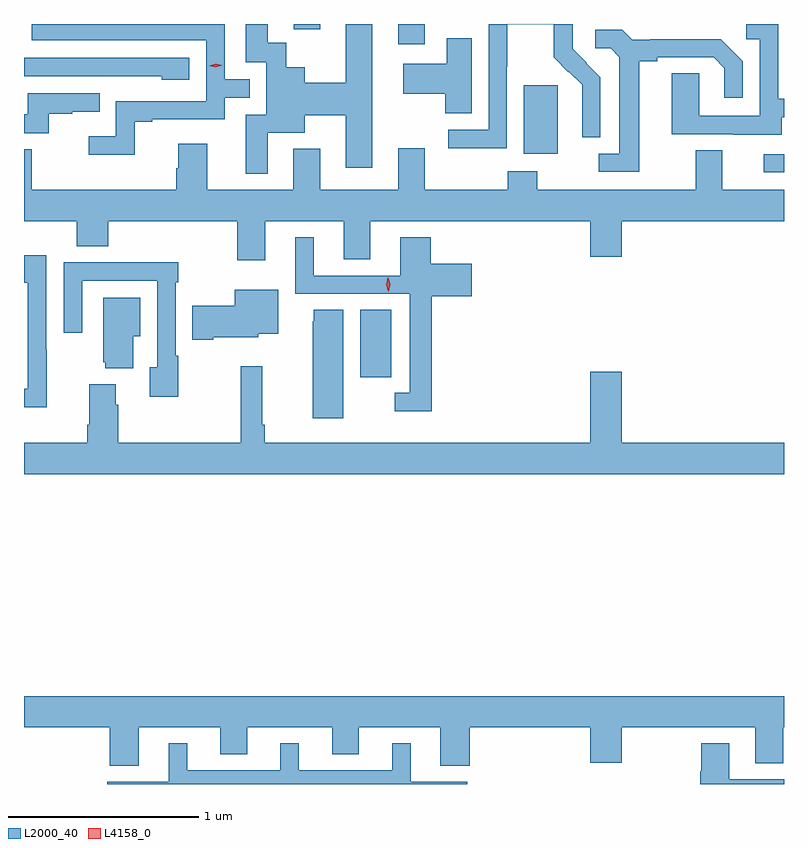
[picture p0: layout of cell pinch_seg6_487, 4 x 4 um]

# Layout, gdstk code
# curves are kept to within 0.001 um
import gdstk
lib = gdstk.Library(unit=1e-6, precision=1e-09)
def R(c, l, rs):  # rectangles x0, y0, x1, y1
    for r in rs: c.add(gdstk.rectangle(r[:2], r[2:], *l))
def P(c, l, *ps):  # polygons
    for p in ps: c.add(gdstk.Polygon(p, *l))
L2000_40 = (2000, 40)
L4158_0 = (4158, 0)

pinch_seg6_487 = lib.new_cell('pinch_seg6_487')
R(pinch_seg6_487, L2000_40, [(859.1,954.507,859.264,954.86), (861.225,955.584,861.331,955.68), (859.961,955.682,860.14,956.043), (859.301,956.259,859.441,956.365), (858.752,956.337,858.889,956.365)])
P(pinch_seg6_487, L2000_40, [(858.613,955.793),(858.808,955.793),(858.808,955.885),(859.025,955.885),(859.025,955.608),(859.165,955.608),(859.165,956.365),(859.025,956.365),(859.025,956.057),(858.808,956.057),(858.808,956.137),(858.711,956.137),(858.711,956.267),(858.613,956.267),(858.613,956.365),(858.497,956.365),(858.497,956.163),(858.606,956.163),(858.606,955.887),(858.497,955.887),(858.497,955.578),(858.613,955.578)],
  [(857.913,955.851),(858.007,955.851),(858.007,955.863),(858.387,955.863),(858.387,955.977),(858.52,955.977),(858.52,956.073),(858.387,956.073),(858.387,956.365),(857.373,956.365),(857.373,956.28),(858.291,956.28),(858.291,955.959),(857.814,955.959),(857.814,955.774),(857.673,955.774),(857.673,955.676),(857.913,955.676)],
  [(861.319,955.875),(861.331,955.875),(861.331,955.971),(861.3,955.971),(861.3,956.365),(861.132,956.365),(861.132,956.286),(861.204,956.286),(861.204,955.881),(860.886,955.881),(860.886,956.105),(860.741,956.105),(860.741,955.785),(861.065,955.785),(861.065,955.781),(861.319,955.781)],
  [(859.872,956.14),(859.875,956.14),(859.875,956.364),(860.119,956.364),(860.119,956.189),(860.196,956.112),(860.199,956.115),(860.27,956.045),(860.27,955.922),(860.268,955.922),(860.268,955.768),(860.364,955.768),(860.364,956.086),(860.218,956.234),(860.218,956.331),(860.22,956.331),(860.22,956.365),(859.776,956.365),(859.776,955.809),(859.563,955.809),(859.563,955.711),(859.872,955.711)],
  [(860.569,956.168),(860.665,956.168),(860.665,956.19),(860.96,956.19),(861.017,956.133),(861.017,955.977),(861.114,955.977),(861.114,956.17),(860.998,956.286),(860.626,956.286),(860.626,956.283),(860.532,956.283),(860.48,956.335),(860.337,956.335),(860.337,956.238),(860.418,956.238),(860.465,956.191),(860.465,955.683),(860.355,955.683),(860.355,955.587),(860.569,955.587)],
  [(859.687,956.291),(859.556,956.291),(859.556,956.155),(859.326,956.155),(859.326,955.997),(859.549,955.997),(859.549,955.894),(859.687,955.894)],
  [(858.202,956.187),(857.331,956.187),(857.331,956.091),(857.821,956.091),(857.821,956.09),(858.057,956.09),(858.057,956.072),(858.202,956.072)],
  [(857.462,955.893),(857.585,955.893),(857.585,955.904),(857.729,955.904),(857.729,956.001),(857.352,956.001),(857.352,955.889),(857.331,955.889),(857.331,955.791),(857.462,955.791)],
  [(858.601,955.328),(859.013,955.328),(859.013,955.126),(859.153,955.126),(859.153,955.328),(860.312,955.328),(860.312,955.14),(860.476,955.14),(860.476,955.328),(861.331,955.328),(861.331,955.492),(861.007,955.492),(861.007,955.7),(860.867,955.7),(860.867,955.492),(860.031,955.492),(860.031,955.591),(859.876,955.591),(859.876,955.492),(859.441,955.492),(859.441,955.711),(859.301,955.711),(859.301,955.492),(858.889,955.492),(858.889,955.708),(858.749,955.708),(858.749,955.492),(858.295,955.492),(858.295,955.735),(858.143,955.735),(858.143,955.605),(858.131,955.605),(858.131,955.492),(857.371,955.492),(857.371,955.706),(857.331,955.706),(857.331,955.328),(857.609,955.328),(857.609,955.195),(857.774,955.195),(857.774,955.328),(858.454,955.328),(858.454,955.122),(858.601,955.122)],
  [(859.478,954.932),(859.687,954.932),(859.687,955.102),(859.472,955.102),(859.472,955.243),(859.31,955.243),(859.31,955.041),(858.856,955.041),(858.856,955.243),(858.758,955.243),(858.758,954.945),(859.362,954.945),(859.362,954.423),(859.281,954.423),(859.281,954.326),(859.478,954.326)],
  [(857.451,954.653),(857.448,954.653),(857.448,955.147),(857.333,955.147),(857.333,955.002),(857.352,955.002),(857.352,954.698),(857.351,954.698),(857.351,954.444),(857.331,954.444),(857.331,954.347),(857.451,954.347)],
  [(858.142,954.62),(858.129,954.62),(858.129,955.007),(858.142,955.007),(858.142,955.112),(857.857,955.112),(857.857,955.11),(857.541,955.11),(857.541,954.741),(857.637,954.741),(857.637,955.014),(858.033,955.014),(858.033,954.558),(857.993,954.558),(857.993,954.402),(858.142,954.402)],
  [(858.328,954.716),(858.564,954.716),(858.564,954.734),(858.67,954.734),(858.67,954.967),(858.44,954.967),(858.44,954.882),(858.216,954.882),(858.216,954.704),(858.328,954.704)],
  [(857.905,954.722),(857.944,954.722),(857.944,954.925),(857.747,954.925),(857.747,954.585),(857.759,954.585),(857.759,954.554),(857.905,954.554)],
  [(859.012,954.86),(858.857,954.86),(858.857,954.801),(858.851,954.801),(858.851,954.291),(859.012,954.291)],
  [(861.331,954.16),(860.476,954.16),(860.476,954.535),(860.312,954.535),(860.312,954.16),(858.599,954.16),(858.599,954.256),(858.584,954.256),(858.584,954.565),(858.471,954.565),(858.471,954.16),(857.828,954.16),(857.828,954.362),(857.815,954.362),(857.815,954.469),(857.675,954.469),(857.675,954.256),(857.663,954.256),(857.663,954.16),(857.331,954.16),(857.331,953.996),(861.331,953.996)],
  [(857.935,952.664),(858.365,952.664),(858.365,952.522),(858.505,952.522),(858.505,952.664),(858.953,952.664),(858.953,952.522),(859.093,952.522),(859.093,952.664),(859.523,952.664),(859.523,952.462),(859.676,952.462),(859.676,952.664),(860.312,952.664),(860.312,952.476),(860.476,952.476),(860.476,952.664),(861.179,952.664),(861.179,952.474),(861.327,952.474),(861.327,952.664),(861.331,952.664),(861.331,952.828),(857.331,952.828),(857.331,952.664),(857.783,952.664),(857.783,952.462),(857.935,952.462)],
  [(859.664,952.377),(859.366,952.377),(859.366,952.579),(859.268,952.579),(859.268,952.437),(858.778,952.437),(858.778,952.579),(858.68,952.579),(858.68,952.437),(858.19,952.437),(858.19,952.579),(858.092,952.579),(858.092,952.377),(857.768,952.377),(857.768,952.365),(859.664,952.365)],
  [(861.331,952.389),(861.043,952.389),(861.043,952.579),(860.896,952.579),(860.896,952.431),(860.891,952.431),(860.891,952.365),(861.331,952.365)])
P(pinch_seg6_487, L4158_0, [(859.249,954.958),(859.238,954.993),(859.246,955.029),(859.246,955.029),(859.247,955.029),(859.258,954.994),(859.25,954.958),(859.25,954.958)],
  [(858.341,956.137),(858.306,956.145),(858.306,956.145),(858.306,956.145),(858.34,956.157),(858.375,956.149),(858.375,956.149),(858.375,956.149)])

lib.write_gds('pinch_seg6_487.gds')
